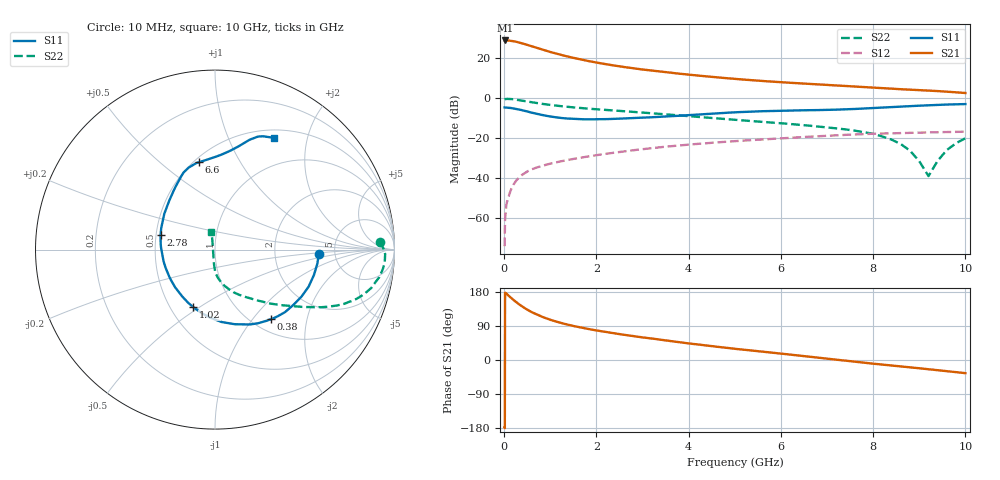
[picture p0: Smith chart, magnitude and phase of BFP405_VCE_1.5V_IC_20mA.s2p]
! Infineon Technologies  Discrete & RF Semiconductors
! BFP405
! VCE =  1.5 V,  IC =  20 mA
! Common Emitter S-Parameters:  Jan 2016
# GHz  S  MA  R  50
!  f  S11  S21  S12  S22
! GHz  MAG  ANG  MAG  ANG  MAG  ANG  MAG  ANG
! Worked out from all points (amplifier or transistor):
!   233 points, 10 MHz to 10 GHz, reference 50 ohm
!   highest |S21| = 28.7 dB at 20 MHz (marker M1)
!   |S21| within 3 dB of that: start of sweep to 608.7 MHz
!   unconditionally stable (mu >= 1): start of sweep to 31.36 MHz; 1.476 GHz to end of sweep
!   at 200 MHz: K = 0.31, MSG = 35.8 dB, |S12| = -43.3 dB
!   at 1.74 GHz: K = 1.09, MAG = 22.3 dB, |S12| = -29.5 dB
!   at 10 GHz: K = 1.47, MAG = 5.6 dB, |S12| = -16.8 dB
!   S11 on the Smith chart (normalised r, x): 10 MHz: 3.74, -0.30; 380 MHz: 1.20, -1.24; 1.02 GHz: 0.65, -0.47; 2.78 GHz: 0.53, +0.10; 6.6 GHz: 0.53, +0.68; 10 GHz: 0.60, +1.48
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0.01  0.5799 -2.6  27.05 -177.6  0.0002 87.2  0.9196 2.8
0.02  0.5782 -3.0  27.25 177.7  0.0009 92.1  0.938 0.4
0.1  0.5693 -14.3  27.1 169.2  0.0035 85.1  0.9484 -4.4
0.22  0.5419 -31.2  25.83 156.8  0.0074 77.8  0.9206 -10.4
0.3  0.5229 -41.8  24.66 149.2  0.0097 74.0  0.8965 -13.8
0.38  0.4969 -51.3  23.26 142.2  0.0118 70.8  0.8651 -16.7
0.5  0.4606 -64.9  21.2 132.9  0.0146 67.2  0.8194 -20.2
0.6  0.43 -75.2  19.43 126.1  0.0165 64.7  0.7832 -22.6
0.7  0.4052 -84.7  17.88 120.3  0.0183 63.0  0.7499 -24.5
0.9  0.3623 -101.6  15.21 110.3  0.0214 60.8  0.6938 -27.4
1.02  0.3422 -110.8  13.86 105.4  0.0232 60.1  0.6661 -28.8
1.3  0.3113 -130.1  11.38 95.6  0.0272 59.0  0.6129 -31.5
1.68  0.2947 -152.0  9.042 85.3  0.0326 58.0  0.5586 -34.6
2.2  0.296 -175.7  6.976 74.0  0.0403 56.4  0.5032 -38.3
2.78  0.3143 164.5  5.545 63.5  0.0493 53.9  0.4512 -42.4
3.4  0.3398 147.3  4.534 53.3  0.0592 50.0  0.3983 -47.2
5.1  0.4438 115.8  2.931 28.4  0.085 37.6  0.2792 -62.9
6.6  0.4945 100.7  2.249 8.9  0.1077 26.1  0.2045 -75.9
6.8  0.4983 97.8  2.177 6.3  0.1107 24.3  0.1943 -77.5
8.4  0.5926 76.9  1.703 -14.6  0.1315 9.2  0.0911 -92.7
9.2  0.6574 70.8  1.527 -24.4  0.1383 2.3  0.0112 -178.9
10  0.7038 62.2  1.33 -34.7  0.1438 -3.8  0.0989 101.5
